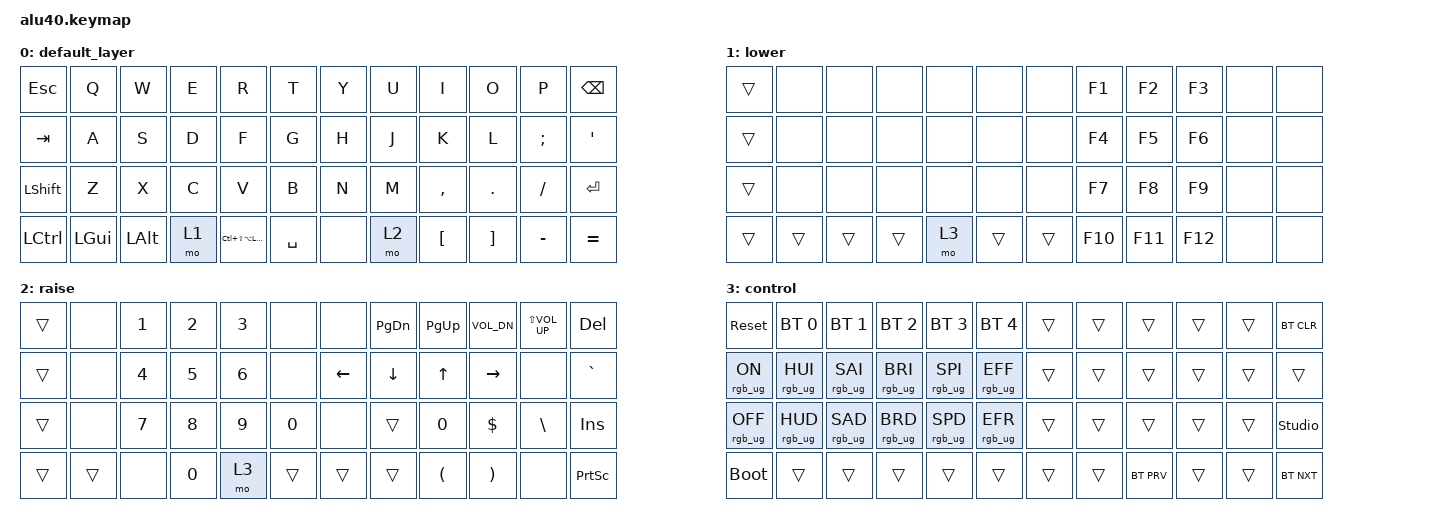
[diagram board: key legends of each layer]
/*
 * Copyright (c) 2022 The ZMK Contributors
 *
 * SPDX-License-Identifier: MIT
 */

#include <behaviors.dtsi>
#include <dt-bindings/zmk/bt.h>
#include <dt-bindings/zmk/keys.h>
#include <dt-bindings/zmk/rgb.h>

/ {
    keymap {
        compatible = "zmk,keymap";

        default_layer {
            // -----------------------------------------------------------------------------------------
            // | ESC/~ |  Q   |  W   |  E   |  R   |  T   |   Y   |  U    |  I   |  O   |   P   | BSPC  |
            // | TAB   |  A   |  S   |  D   |  F   |  G   |   H   |  J    |  K   |  L   |   ;   |  '    |
            // | SHIFT |  Z   |  X   |  C   |  V   |  B   |   N   |  M    |  ,   |  .   |   /   |RET/SFT|
            // | PLAY  | LCTL | LALT | LGUI | LOWR |     SPACE    |  RAIS | LARW | UARW | DARW  |  RARW |

            bindings = <
&kp ESC    &kp Q     &kp W     &kp E  &kp R                 &kp T      &kp Y  &kp U  &kp I      &kp O     &kp P      &kp BSPC
&kp TAB    &kp A     &kp S     &kp D  &kp F                 &kp G      &kp H  &kp J  &kp K      &kp L     &kp SEMI   &kp SQT
&kp LSHFT  &kp Z     &kp X     &kp C  &kp V                 &kp B      &kp N  &kp M  &kp COMMA  &kp DOT   &kp FSLH   &kp ENTER
&kp LCTRL  &kp LGUI  &kp LALT  &mo 1  &kp LC(LS(LA(LGUI)))  &kp SPACE  &none  &mo 2  &kp LBKT   &kp RBKT  &kp MINUS  &kp EQUAL
            >;
        };

        lower {
            bindings = <
&trans  &none   &none   &none   &none  &none   &none   &kp F1   &kp F2   &kp F3   &none  &none
&trans  &none   &none   &none   &none  &none   &none   &kp F4   &kp F5   &kp F6   &none  &none
&trans  &none   &none   &none   &none  &none   &none   &kp F7   &kp F8   &kp F9   &none  &none
&trans  &trans  &trans  &trans  &mo 3  &trans  &trans  &kp F10  &kp F11  &kp F12  &none  &none
            >;
        };

        raise {
            bindings = <
&trans  &none   &kp N1  &kp N2  &kp N3  &none   &none     &kp PG_DN  &kp PG_UP  &kp C_VOL_DN  &kp LS(C_VOLUME_UP)  &kp DEL
&trans  &none   &kp N4  &kp N5  &kp N6  &none   &kp LEFT  &kp DOWN   &kp UP     &kp RIGHT     &none                &kp GRAVE
&trans  &none   &kp N7  &kp N8  &kp N9  &kp N0  &none     &trans     &kp N0     &kp DOLLAR    &kp BSLH             &kp INS
&trans  &trans  &none   &kp N0  &mo 3   &trans  &trans    &trans     &kp LPAR   &kp RPAR      &none                &kp PSCRN
            >;
        };

        control {
            bindings = <
&sys_reset       &bt BT_SEL 0     &bt BT_SEL 1     &bt BT_SEL 2     &bt BT_SEL 3     &bt BT_SEL 4     &trans  &trans  &trans      &trans  &trans  &bt BT_CLR
&rgb_ug RGB_ON   &rgb_ug RGB_HUI  &rgb_ug RGB_SAI  &rgb_ug RGB_BRI  &rgb_ug RGB_SPI  &rgb_ug RGB_EFF  &trans  &trans  &trans      &trans  &trans  &trans
&rgb_ug RGB_OFF  &rgb_ug RGB_HUD  &rgb_ug RGB_SAD  &rgb_ug RGB_BRD  &rgb_ug RGB_SPD  &rgb_ug RGB_EFR  &trans  &trans  &trans      &trans  &trans  &studio_unlock
&bootloader      &trans           &trans           &trans           &trans           &trans           &trans  &trans  &bt BT_PRV  &trans  &trans  &bt BT_NXT
            >;
        };

        extra1 { status = "reserved"; };

        extra2 { status = "reserved"; };

        extra3 { status = "reserved"; };

        extra4 { status = "reserved"; };
    };
};
